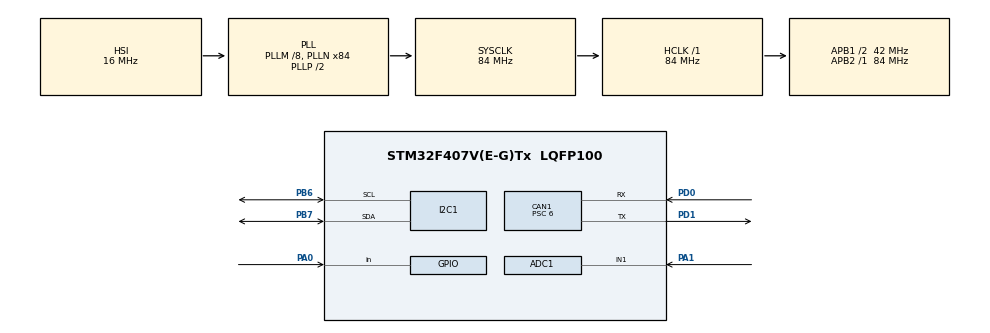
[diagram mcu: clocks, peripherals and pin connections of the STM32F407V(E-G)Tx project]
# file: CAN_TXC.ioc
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ADC1.Channel-0\#ChannelRegularConversion=ADC_CHANNEL_1
ADC1.NbrOfConversionFlag=1
ADC1.Rank-0\#ChannelRegularConversion=1
ADC1.SamplingTime-0\#ChannelRegularConversion=ADC_SAMPLETIME_3CYCLES
ADC1.master=1
CAN1.BS1=CAN_BS1_11TQ
CAN1.BS2=CAN_BS2_2TQ
CAN1.CalculateBaudRate=500000
CAN1.CalculateTimeBit=2000
CAN1.CalculateTimeQuantum=142.85714285714286
CAN1.Prescaler=6
Mcu.Family=STM32F4
Mcu.Name=STM32F407V(E-G)Tx
Mcu.Package=LQFP100
NVIC.PriorityGroup=NVIC_PRIORITYGROUP_4
PA0-WKUP.GPIO_PuPd=GPIO_PULLDOWN
PA0-WKUP.Signal=GPIO_Input
PA1.Signal=ADCx_IN1
PA13.Mode=Trace_Asynchronous_SW
PA13.Signal=SYS_JTMS-SWDIO
PA14.Mode=Trace_Asynchronous_SW
PA14.Signal=SYS_JTCK-SWCLK
PB3.Mode=Trace_Asynchronous_SW
PB3.Signal=SYS_JTDO-SWO
PB6.Mode=I2C
PB6.Signal=I2C1_SCL
PB7.Mode=I2C
PB7.Signal=I2C1_SDA
PD0.Mode=CAN_Activate
PD0.Signal=CAN1_RX
PD1.Mode=CAN_Activate
PD1.Signal=CAN1_TX
ProjectManager.HeapSize=0x200
ProjectManager.StackSize=0x400
ProjectManager.TargetToolchain=STM32CubeIDE
RCC.48MHZClocksFreq_Value=42000000
RCC.AHBFreq_Value=84000000
RCC.APB1CLKDivider=RCC_HCLK_DIV2
RCC.APB1Freq_Value=42000000
RCC.APB1TimFreq_Value=84000000
RCC.APB2Freq_Value=84000000
RCC.APB2TimFreq_Value=84000000
RCC.CortexFreq_Value=84000000
RCC.HCLKFreq_Value=84000000
RCC.HSE_VALUE=25000000
RCC.HSI_VALUE=16000000
RCC.LSE_VALUE=32768
RCC.PLLM=8
RCC.PLLN=84
RCC.SYSCLKFreq_VALUE=84000000
RCC.SYSCLKSource=RCC_SYSCLKSOURCE_PLLCLK
RCC.VCOOutputFreq_Value=168000000
SH.ADCx_IN1.0=ADC1_IN1,IN1
board=custom

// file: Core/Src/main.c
/* USER CODE BEGIN Header */
/**
  ******************************************************************************
  * @file           : main.c
  * @brief          : Main program body
  ******************************************************************************
  * @attention
  *
  * Copyright (c) 2026 STMicroelectronics.
  * All rights reserved.
  *
  * This software is licensed under terms that can be found in the LICENSE file
  * in the root directory of this software component.
  * If no LICENSE file comes with this software, it is provided AS-IS.
  *
  ******************************************************************************
  */
/* USER CODE END Header */
#include "main.h"

/* USER CODE BEGIN PTD */
CAN_TxHeaderTypeDef TxHeader;
uint8_t arr[8];
uint32_t mailbox;
uint16_t adcvalue;
uint16_t temp;
uint8_t button;
/* USER CODE END PTD */

ADC_HandleTypeDef hadc1;

CAN_HandleTypeDef hcan1;

I2C_HandleTypeDef hi2c1;

/* USER CODE BEGIN PV */
uint16_t tempvar;

/* USER CODE END PV */

void SystemClock_Config(void);
static void MX_GPIO_Init(void);
static void MX_CAN1_Init(void);
static void MX_I2C1_Init(void);
static void MX_ADC1_Init(void);
/* USER CODE BEGIN PFP */
uint16_t mpu_read();

/* USER CODE END PFP */

int main(void)
{

  /* MCU Configuration--------------------------------------------------------*/

  /* Reset of all peripherals, Initializes the Flash interface and the Systick. */
  HAL_Init();

  /* Configure the system clock */
  SystemClock_Config();

  /* Initialize all configured peripherals */
  MX_GPIO_Init();
  MX_CAN1_Init();
  MX_I2C1_Init();
  MX_ADC1_Init();
  /* USER CODE BEGIN 2 */

  TxHeader.ExtId = 0;
  TxHeader.StdId = 0;
  TxHeader.IDE = CAN_ID_STD;
  TxHeader.RTR = CAN_RTR_DATA;
  TxHeader.TransmitGlobalTime = DISABLE;

  HAL_CAN_Start(&hcan1);

  /* USER CODE END 2 */

  /* Infinite loop */
  while (1)
  {

    /* USER CODE BEGIN 3 */
	  TxHeader.StdId = 100;
	  TxHeader.DLC = 2;
	  HAL_ADC_Start(&hadc1);
	  HAL_ADC_PollForConversion(&hadc1, 1000);
	  adcvalue = HAL_ADC_GetValue(&hadc1);
	  arr[0] = adcvalue & 0xFF ;
	  arr[1] = (adcvalue >> 8) & 0xFF;
	  HAL_CAN_AddTxMessage(&hcan1, &TxHeader, arr, &mailbox);
	  HAL_Delay(10);

	  button = HAL_GPIO_ReadPin(GPIOA, GPIO_PIN_0);
	  TxHeader.StdId = 0;

	  TxHeader.StdId = 101;
	  TxHeader.DLC = 1;
	  arr[0] = button;
	  HAL_CAN_AddTxMessage(&hcan1, &TxHeader, arr, &mailbox);
	  HAL_Delay(10);

	  TxHeader.StdId = 0;

	  TxHeader.StdId = 102;
	  TxHeader.DLC = 2;
	  temp = mpu_read();
	  arr[0] = temp & 0xFF;
	  arr[1] = (temp >> 8) & 0xFF;
	  HAL_CAN_AddTxMessage(&hcan1, &TxHeader, arr, &mailbox);
	  HAL_Delay(10);
 }
  /* USER CODE END 3 */
}

void SystemClock_Config(void)
{
  RCC_OscInitTypeDef RCC_OscInitStruct = {0};
  RCC_ClkInitTypeDef RCC_ClkInitStruct = {0};

  /** Configure the main internal regulator output voltage
  */
  __HAL_RCC_PWR_CLK_ENABLE();
  __HAL_PWR_VOLTAGESCALING_CONFIG(PWR_REGULATOR_VOLTAGE_SCALE1);

  /** Initializes the RCC Oscillators according to the specified parameters
  * in the RCC_OscInitTypeDef structure.
  */
  RCC_OscInitStruct.OscillatorType = RCC_OSCILLATORTYPE_HSI;
  RCC_OscInitStruct.HSIState = RCC_HSI_ON;
  RCC_OscInitStruct.HSICalibrationValue = RCC_HSICALIBRATION_DEFAULT;
  RCC_OscInitStruct.PLL.PLLState = RCC_PLL_ON;
  RCC_OscInitStruct.PLL.PLLSource = RCC_PLLSOURCE_HSI;
  RCC_OscInitStruct.PLL.PLLM = 8;
  RCC_OscInitStruct.PLL.PLLN = 84;
  RCC_OscInitStruct.PLL.PLLP = RCC_PLLP_DIV2;
  RCC_OscInitStruct.PLL.PLLQ = 4;
  if (HAL_RCC_OscConfig(&RCC_OscInitStruct) != HAL_OK)
  {
    Error_Handler();
  }

  /** Initializes the CPU, AHB and APB buses clocks
  */
  RCC_ClkInitStruct.ClockType = RCC_CLOCKTYPE_HCLK|RCC_CLOCKTYPE_SYSCLK
                              |RCC_CLOCKTYPE_PCLK1|RCC_CLOCKTYPE_PCLK2;
  RCC_ClkInitStruct.SYSCLKSource = RCC_SYSCLKSOURCE_PLLCLK;
  RCC_ClkInitStruct.AHBCLKDivider = RCC_SYSCLK_DIV1;
  RCC_ClkInitStruct.APB1CLKDivider = RCC_HCLK_DIV2;
  RCC_ClkInitStruct.APB2CLKDivider = RCC_HCLK_DIV1;

  if (HAL_RCC_ClockConfig(&RCC_ClkInitStruct, FLASH_LATENCY_2) != HAL_OK)
  {
    Error_Handler();
  }
}

static void MX_ADC1_Init(void)
{

  ADC_ChannelConfTypeDef sConfig = {0};

  /** Configure the global features of the ADC (Clock, Resolution, Data Alignment and number of conversion)
  */
  hadc1.Instance = ADC1;
  hadc1.Init.ClockPrescaler = ADC_CLOCK_SYNC_PCLK_DIV4;
  hadc1.Init.Resolution = ADC_RESOLUTION_12B;
  hadc1.Init.ScanConvMode = DISABLE;
  hadc1.Init.ContinuousConvMode = DISABLE;
  hadc1.Init.DiscontinuousConvMode = DISABLE;
  hadc1.Init.ExternalTrigConvEdge = ADC_EXTERNALTRIGCONVEDGE_NONE;
  hadc1.Init.ExternalTrigConv = ADC_SOFTWARE_START;
  hadc1.Init.DataAlign = ADC_DATAALIGN_RIGHT;
  hadc1.Init.NbrOfConversion = 1;
  hadc1.Init.DMAContinuousRequests = DISABLE;
  hadc1.Init.EOCSelection = ADC_EOC_SINGLE_CONV;
  if (HAL_ADC_Init(&hadc1) != HAL_OK)
  {
    Error_Handler();
  }

  /** Configure for the selected ADC regular channel its corresponding rank in the sequencer and its sample time.
  */
  sConfig.Channel = ADC_CHANNEL_1;
  sConfig.Rank = 1;
  sConfig.SamplingTime = ADC_SAMPLETIME_3CYCLES;
  if (HAL_ADC_ConfigChannel(&hadc1, &sConfig) != HAL_OK)
  {
    Error_Handler();
  }

}

static void MX_CAN1_Init(void)
{

  hcan1.Instance = CAN1;
  hcan1.Init.Prescaler = 6;
  hcan1.Init.Mode = CAN_MODE_NORMAL;
  hcan1.Init.SyncJumpWidth = CAN_SJW_1TQ;
  hcan1.Init.TimeSeg1 = CAN_BS1_11TQ;
  hcan1.Init.TimeSeg2 = CAN_BS2_2TQ;
  hcan1.Init.TimeTriggeredMode = DISABLE;
  hcan1.Init.AutoBusOff = DISABLE;
  hcan1.Init.AutoWakeUp = DISABLE;
  hcan1.Init.AutoRetransmission = DISABLE;
  hcan1.Init.ReceiveFifoLocked = DISABLE;
  hcan1.Init.TransmitFifoPriority = DISABLE;
  if (HAL_CAN_Init(&hcan1) != HAL_OK)
  {
    Error_Handler();
  }

}

static void MX_I2C1_Init(void)
{

  hi2c1.Instance = I2C1;
  hi2c1.Init.ClockSpeed = 100000;
  hi2c1.Init.DutyCycle = I2C_DUTYCYCLE_2;
  hi2c1.Init.OwnAddress1 = 0;
  hi2c1.Init.AddressingMode = I2C_ADDRESSINGMODE_7BIT;
  hi2c1.Init.DualAddressMode = I2C_DUALADDRESS_DISABLE;
  hi2c1.Init.OwnAddress2 = 0;
  hi2c1.Init.GeneralCallMode = I2C_GENERALCALL_DISABLE;
  hi2c1.Init.NoStretchMode = I2C_NOSTRETCH_DISABLE;
  if (HAL_I2C_Init(&hi2c1) != HAL_OK)
  {
    Error_Handler();
  }

}

static void MX_GPIO_Init(void)
{
  GPIO_InitTypeDef GPIO_InitStruct = {0};

  /* GPIO Ports Clock Enable */
  __HAL_RCC_GPIOA_CLK_ENABLE();
  __HAL_RCC_GPIOD_CLK_ENABLE();
  __HAL_RCC_GPIOB_CLK_ENABLE();

  /*Configure GPIO pin : PA0 */
  GPIO_InitStruct.Pin = GPIO_PIN_0;
  GPIO_InitStruct.Mode = GPIO_MODE_INPUT;
  GPIO_InitStruct.Pull = GPIO_PULLDOWN;
  HAL_GPIO_Init(GPIOA, &GPIO_InitStruct);

}

/* USER CODE BEGIN 4 */
uint16_t mpu_read(){
	          uint8_t bufferi2c[2];
	          HAL_I2C_Mem_Read(&hi2c1,
	  	  	                   0x68 << 1,
		  	                   0x41,
		  	                   I2C_MEMADD_SIZE_8BIT,
		  	                   (uint8_t*)bufferi2c,
		  	                   2,
		  	                   1000);

		  	  tempvar = (bufferi2c[0] << 8) | bufferi2c[1];

              return tempvar;
}
/* USER CODE END 4 */

void Error_Handler(void)
{
  __disable_irq();
  while (1)
  {
  }
}
